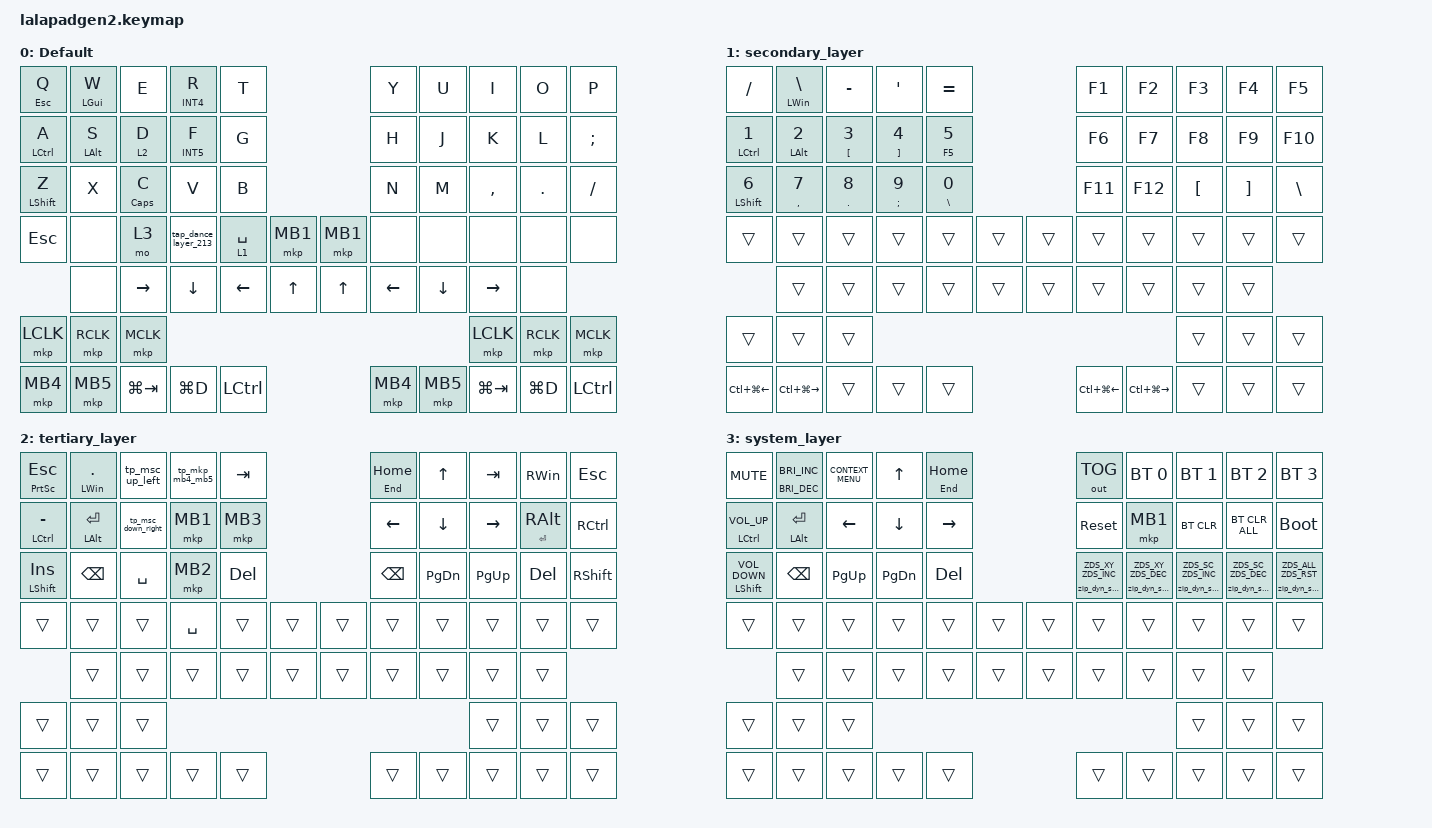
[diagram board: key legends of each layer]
#include <input/processors.dtsi>
#include <dt-bindings/zmk/zip_dynamic_scale.h>
#include <behaviors.dtsi>
#include <dt-bindings/zmk/bt.h>
#include <dt-bindings/zmk/keys.h>
#include <dt-bindings/zmk/outputs.h>
#include <dt-bindings/zmk/pointing.h>

#define DEFAULT_LAYER   0
#define SECONDARY_LAYER 1
#define TERTIARY_LAYER  2
#define SYSTEM_LAYER    3

&mt {
    flavor = "balanced";
    quick-tap-ms = <0>;
    bindings = <&sticky_mod>, <&kp>;
};

&lt { quick-tap-ms = <200>; };

/ {
    behaviors {
        zip_dyn_scale: zip_dyn_scale {
            compatible = "zmk,behavior-zip-dynamic-scale";
            #binding-cells = <2>;
        };

        zip_dyn_scale_set: zip_dyn_scale_set {
            compatible = "zmk,behavior-zip-dynamic-scale-set";
            #binding-cells = <2>;
        };

        mt2: mod_tap2 {
            compatible = "zmk,behavior-hold-tap";
            #binding-cells = <2>;
            flavor = "tap-preferred";
            tapping-term-ms = <200>;
            quick-tap-ms = <200>;
            require-prior-idle-ms = <125>;
            bindings = <&kp>, <&kp>;
        };

        tap_dance_layer_213: tap_dance_layer_213 {
            compatible = "zmk,behavior-tap-dance";
            label = "td_mo213";
            #binding-cells = <0>;
            bindings = <&mo 2>, <&mo 1>, <&mo 3>;

            tapping-term-ms = <300>;
        };

        sticky_mod: sticky_mod {
            compatible = "zmk,behavior-macro-one-param";
            #binding-cells = <1>;
            wait-ms = <0>;
            tap-ms = <0>;
            bindings =
                <&macro_param_1to1>,
                <&macro_press>,
                <&kp MACRO_PLACEHOLDER>,
                <&macro_pause_for_release>,
                <&macro_wait_time 400>,
                <&none>,
                <&macro_wait_time 0>,
                <&macro_param_1to1>,
                <&macro_release>,
                <&kp MACRO_PLACEHOLDER>;

            label = "STICKY_MOD";
        };

        tap_key: tap_key {
            compatible = "zmk,behavior-macro-one-param";
            #binding-cells = <1>;
            wait-ms = <0>;
            tap-ms = <0>;
            bindings = <&macro_param_1to1 &kp MACRO_PLACEHOLDER>;
            label = "TAP_KEY";
        };

        lm: lm {
            compatible = "zmk,behavior-macro-two-param";
            wait-ms = <0>;
            tap-ms = <0>;
            #binding-cells = <2>;
            bindings =
                <&macro_param_1to1>,
                <&macro_press>,
                <&mo MACRO_PLACEHOLDER &macro_param_2to1>,
                <&macro_press>,
                <&kp MACRO_PLACEHOLDER>,
                <&macro_pause_for_release>,
                <&macro_param_2to1>,
                <&macro_release>,
                <&kp MACRO_PLACEHOLDER &macro_param_1to1>,
                <&macro_release>,
                <&mo MACRO_PLACEHOLDER>;
        };

        tp_msc_down_right: tp_msc_down_right {
            compatible = "zmk,behavior-tap-dance";
            label = "TP_MSC_DOWN_RIGHT";
            #binding-cells = <0>;
            bindings = <&msc SCRL_DOWN>, <&msc SCRL_RIGHT>;

            tapping-term-ms = <300>;
        };

        tp_msc_up_left: tp_msc_up_left {
            compatible = "zmk,behavior-tap-dance";
            label = "TP_MSC_UP_LEFT";
            #binding-cells = <0>;
            bindings = <&msc SCRL_UP>, <&msc SCRL_LEFT>;

            tapping-term-ms = <300>;
        };

        tp_mkp_mb4_mb5: tp_mkp_mb4_mb5 {
            compatible = "zmk,behavior-tap-dance";
            label = "TP_MKP_MB4_MB5";
            #binding-cells = <0>;
            bindings = <&mkp MB4>, <&mkp MB5>;

            tapping-term-ms = <300>;
        };

        mt_tap: mt_tap {
            compatible = "zmk,behavior-hold-tap";
            label = "MT_TAP";
            bindings = <&tap_key>, <&kp>;

            #binding-cells = <2>;
            tapping-term-ms = <200>;
            flavor = "balanced";
        };

        clear_mods: clear_mods {
            compatible = "zmk,behavior-macro";
            #binding-cells = <0>;
            wait-ms = <0>;
            tap-ms = <0>;
            bindings = <&macro_release
                &kp LCTRL &kp LSHIFT &kp LALT &kp LGUI
                &kp RCTRL &kp RSHIFT &kp RALT &kp RGUI>;
            label = "CLEAR_MODS";
        };

        /* 全mod解除 → 引数の言語キーを送出 */
        lang_clear: lang_clear {
            compatible = "zmk,behavior-macro-one-param";
            #binding-cells = <1>;
            wait-ms = <0>;
            tap-ms = <0>;
            bindings =
                <&clear_mods>,
                <&macro_param_1to1>,
                <&kp MACRO_PLACEHOLDER>;
            label = "LANG_CLEAR";
        };

        /* mt_tap と同挙動。hold時に lang_clear(全mod解除+言語キー) を実行 */
        mt_lang: mt_lang {
            compatible = "zmk,behavior-hold-tap";
            label = "MT_LANG";
            bindings = <&lang_clear>, <&kp>;

            #binding-cells = <2>;
            tapping-term-ms = <200>;
            flavor = "balanced";
        };
    };

    combos { compatible = "zmk,combos"; };

    macros {
    };

    keymap {
        compatible = "zmk,keymap";

        DEFAULT_LAYER {
            display-name = "Default";
            bindings = <
&mt_tap ESCAPE Q  &mt LGUI W      &kp E               &mt_lang INT4 R       &kp T                            &kp Y     &kp U     &kp I        &kp O       &kp P
&mt LCTRL A       &mt LEFT_ALT S  &lt 2 D             &mt_lang INT5 F       &kp G                            &kp H     &kp J     &kp K        &kp L       &kp SEMICOLON
&mt LEFT_SHIFT Z  &kp X           &mt_tap CAPSLOCK C  &kp V                 &kp B                            &kp N     &kp M     &kp COMMA    &kp PERIOD  &kp SLASH
&kp ESCAPE        &none           &mo 3               &tap_dance_layer_213  &lt 1 SPACE  &mkp MB1  &mkp MB1  &none     &none     &none        &none       &none
                  &none           &kp RIGHT           &kp DOWN              &kp LEFT     &kp UP    &kp UP    &kp LEFT  &kp DOWN  &kp RIGHT    &none
&mkp LCLK         &mkp RCLK       &mkp MCLK                                                                                      &mkp LCLK    &mkp RCLK   &mkp MCLK
&mkp MB4          &mkp MB5        &kp LG(TAB)         &kp LG(D)             &kp LCTRL                        &mkp MB4  &mkp MB5  &kp LG(TAB)  &kp LG(D)   &kp LCTRL
            >;
        };

        SECONDARY_LAYER {
            display-name = "secondary_layer";
            bindings = <
&kp SLASH            &mt LWIN BACKSLASH  &kp MINUS                &kp SINGLE_QUOTE          &kp EQUAL                             &kp F1            &kp F2             &kp F3            &kp F4             &kp F5
&mt LEFT_CONTROL N1  &mt LALT N2         &mt_tap LEFT_BRACKET N3  &mt_tap RIGHT_BRACKET N4  &mt_tap F5 N5                         &kp F6            &kp F7             &kp F8            &kp F9             &kp F10
&mt LSHIFT N6        &mt_tap COMMA N7    &mt_tap DOT N8           &mt_tap SEMI N9           &mt_tap BACKSLASH N0                  &kp F11           &kp F12            &kp LEFT_BRACKET  &kp RIGHT_BRACKET  &kp BACKSLASH
&trans               &trans              &trans                   &trans                    &trans                &trans  &trans  &trans            &trans             &trans            &trans             &trans
                     &trans              &trans                   &trans                    &trans                &trans  &trans  &trans            &trans             &trans            &trans
&trans               &trans              &trans                                                                                                                        &trans            &trans             &trans
&kp LC(LG(LEFT))     &kp LC(LG(RIGHT))   &trans                   &trans                    &trans                                &kp LC(LG(LEFT))  &kp LC(LG(RIGHT))  &trans            &trans             &trans
            >;
        };

        TERTIARY_LAYER {
            display-name = "tertiary_layer";
            bindings = <
&mt_tap PRINTSCREEN ESCAPE  &mt LWIN PERIOD  &tp_msc_up_left     &tp_mkp_mb4_mb5  &kp TAB                   &mt_tap END HOME  &kp UP_ARROW   &kp TAB      &kp RWIN             &kp ESCAPE
&mt LCTRL MINUS             &mt LALT ENTER   &tp_msc_down_right  &mkp MB1         &mkp MB3                  &kp LEFT_ARROW    &kp DOWN       &kp RIGHT    &mt ENTER RIGHT_ALT  &kp RIGHT_CONTROL
&mt LSHIFT INSERT           &kp BACKSPACE    &kp SPACE           &mkp MB2         &kp DEL                   &kp BACKSPACE     &kp PAGE_DOWN  &kp PAGE_UP  &kp DELETE           &kp RSHIFT
&trans                      &trans           &trans              &kp SPACE        &trans    &trans  &trans  &trans            &trans         &trans       &trans               &trans
                            &trans           &trans              &trans           &trans    &trans  &trans  &trans            &trans         &trans       &trans
&trans                      &trans           &trans                                                                                          &trans       &trans               &trans
&trans                      &trans           &trans              &trans           &trans                    &trans            &trans         &trans       &trans               &trans
            >;
        };

        SYSTEM_LAYER {
            display-name = "system_layer";
            bindings = <
&kp C_MUTE                    &mt_tap C_BRIGHTNESS_DEC C_BRIGHTNESS_INC  &kp K_CONTEXT_MENU  &kp UP_ARROW    &mt_tap END HOME                  &out OUT_TOG                   &bt BT_SEL 0                   &bt BT_SEL 1                   &bt BT_SEL 2                   &bt BT_SEL 3
&mt LEFT_CONTROL C_VOLUME_UP  &mt LEFT_ALT ENTER                         &kp LEFT_ARROW      &kp DOWN_ARROW  &kp RIGHT_ARROW                   &sys_reset                     &mkp MB1                       &bt BT_CLR                     &bt BT_CLR_ALL                 &bootloader
&mt LEFT_SHIFT C_VOLUME_DOWN  &kp BACKSPACE                              &kp PAGE_UP         &kp PAGE_DOWN   &kp DEL                           &zip_dyn_scale ZDS_XY ZDS_INC  &zip_dyn_scale ZDS_XY ZDS_DEC  &zip_dyn_scale ZDS_SC ZDS_INC  &zip_dyn_scale ZDS_SC ZDS_DEC  &zip_dyn_scale ZDS_ALL ZDS_RST
&trans                        &trans                                     &trans              &trans          &trans            &trans  &trans  &trans                         &trans                         &trans                         &trans                         &trans
                              &trans                                     &trans              &trans          &trans            &trans  &trans  &trans                         &trans                         &trans                         &trans
&trans                        &trans                                     &trans                                                                                                                              &trans                         &trans                         &trans
&trans                        &trans                                     &trans              &trans          &trans                            &trans                         &trans                         &trans                         &trans                         &trans
            >;
        };
    };

    conditional_layers { compatible = "zmk,conditional-layers"; };
};
